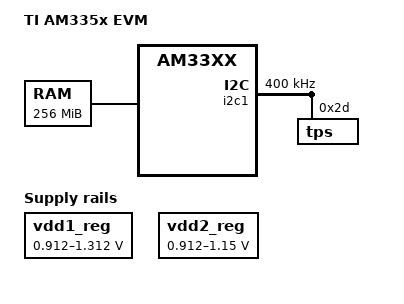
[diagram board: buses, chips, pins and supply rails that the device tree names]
/*
 * Copyright (C) 2012 Texas Instruments Incorporated - http://www.ti.com/
 *
 * This program is free software; you can redistribute it and/or modify
 * it under the terms of the GNU General Public License version 2 as
 * published by the Free Software Foundation.
 */
/dts-v1/;

/include/ "am33xx.dtsi"

/ {
	model = "TI AM335x EVM";
	compatible = "ti,am335x-evm", "ti,am33xx";

	memory {
		device_type = "memory";
		reg = <0x80000000 0x10000000>; /* 256 MB */
	};
};

&i2c1 {
	clock-frequency = <400000>;

	tps: tps@2D {
		reg = <0x2D>;
	};
};

/include/ "tps65910.dtsi"

&vdd1_reg {
	/* VDD_MPU voltage limits 0.95V - 1.26V with +/-4% tolerance */
	regulator-name = "vdd_mpu";
	regulator-min-microvolt = <912500>;
	regulator-max-microvolt = <1312500>;
	regulator-boot-on;
	regulator-always-on;
};

&vdd2_reg {
	/* VDD_CORE voltage limits 0.95V - 1.1V with +/-4% tolerance */
	regulator-name = "vdd_core";
	regulator-min-microvolt = <912500>;
	regulator-max-microvolt = <1150000>;
	regulator-boot-on;
	regulator-always-on;
};
